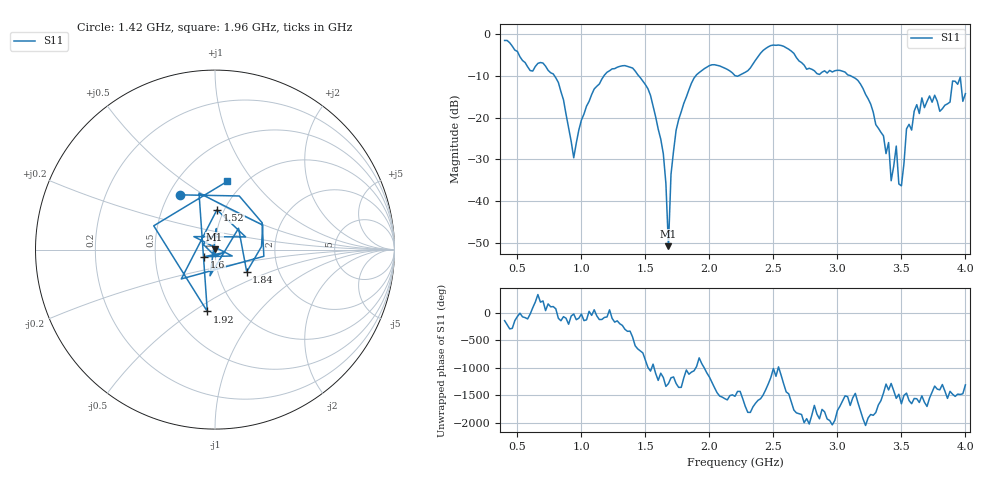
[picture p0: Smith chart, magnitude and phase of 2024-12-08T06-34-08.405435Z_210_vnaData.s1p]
!Created with skrf (http://scikit-rf.org).
# Hz S RI R 50.0
!freq ReS11 ImS11
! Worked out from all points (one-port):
!   181 points, 400 MHz to 4 GHz, reference 50 ohm
!   lowest |S11| = -50.9 dB at 1.68 GHz (marker M1), VSWR 1.01, Z = 49.7 + j0.122 ohm
!   |S11| at or under -10 dB: 790.5 MHz to 1.176 GHz (385 MHz wide, 39.2 % of centre); 1.449 GHz to 1.892 GHz (443.5 MHz wide, 26.5 % of centre); 3.106 GHz to end of sweep (the widest 3 of 4)
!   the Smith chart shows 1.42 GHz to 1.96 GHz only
!   S11 on the Smith chart (normalised r, x): 1.42 GHz: 0.57, +0.40; 1.52 GHz: 0.93, +0.43; 1.6 GHz: 0.88, -0.07; 1.84 GHz: 1.38, -0.36; 1.92 GHz: 0.73, -0.57; 1.96 GHz: 0.84, +0.75
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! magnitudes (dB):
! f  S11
! 400 MHz  -1.5
! 860 MHz  -15.7
! 940 MHz  -29.6
! 1.1 GHz  -13.1
! 1.3 GHz  -7.7
! 1.42 GHz  -8.8
! 1.52 GHz  -13.1
! 1.6 GHz  -22.8
! 1.64 GHz  -28.7
! 1.68 GHz  -50.9
! 1.7 GHz  -33.6
! 1.76 GHz  -20.4
! 1.84 GHz  -13.3
! 1.92 GHz  -9.2
! 1.96 GHz  -8.3
! 2.2 GHz  -9.9
! 2.66 GHz  -4.6
! 3.1 GHz  -9.9
! 3.4 GHz  -26.0
! 3.42 GHz  -35.2
! 3.46 GHz  -26.8
! 3.48 GHz  -35.9
! 3.5 GHz  -36.4
! 3.56 GHz  -21.6
! 3.66 GHz  -15.3
! 3.88 GHz  -16.3
! 3.9 GHz  -11.2
! 4 GHz  -14.2
